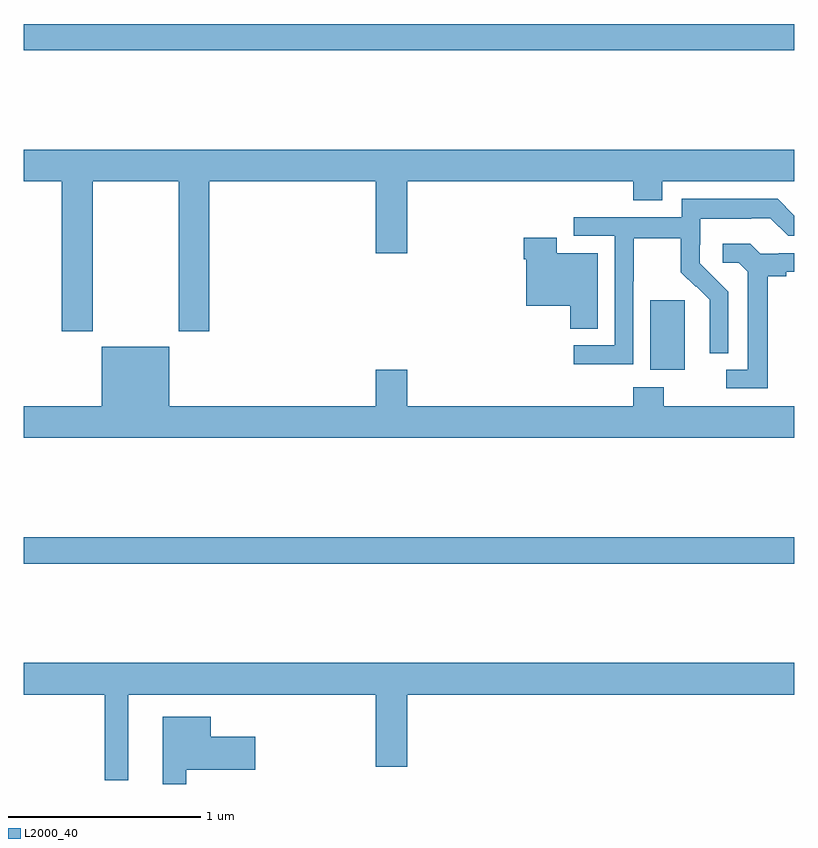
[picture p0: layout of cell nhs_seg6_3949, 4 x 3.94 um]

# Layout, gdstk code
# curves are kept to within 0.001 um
import gdstk
lib = gdstk.Library(unit=1e-6, precision=1e-09)
def R(c, l, rs):  # rectangles x0, y0, x1, y1
    for r in rs: c.add(gdstk.rectangle(r[:2], r[2:], *l))
def P(c, l, *ps):  # polygons
    for p in ps: c.add(gdstk.Polygon(p, *l))
L2000_40 = (2000, 40)

nhs_seg6_3949 = lib.new_cell('nhs_seg6_3949')
R(nhs_seg6_3949, L2000_40, [(343,986.644,347,986.78), (346.253,987.65,346.432,988.011), (343,989.308,347,989.444)])
P(nhs_seg6_3949, L2000_40, [(343.359,988.628),(343.804,988.628),(343.804,987.849),(343.964,987.849),(343.964,988.628),(344.828,988.628),(344.828,988.254),(344.992,988.254),(344.992,988.628),(346.163,988.628),(346.163,988.529),(346.315,988.529),(346.315,988.628),(347,988.628),(347,988.792),(343,988.792),(343,988.628),(343.199,988.628),(343.199,987.849),(343.359,987.849)],
  [(346.164,988.108),(346.167,988.108),(346.167,988.332),(346.411,988.332),(346.411,988.157),(346.488,988.08),(346.491,988.083),(346.562,988.013),(346.562,987.89),(346.56,987.89),(346.56,987.736),(346.656,987.736),(346.656,988.054),(346.51,988.202),(346.51,988.299),(346.512,988.299),(346.512,988.433),(346.775,988.433),(346.775,988.437),(346.875,988.437),(346.968,988.344),(347,988.344),(347,988.45),(346.913,988.537),(346.416,988.537),(346.416,988.44),(345.855,988.44),(345.855,988.344),(346.068,988.344),(346.068,987.777),(345.855,987.777),(345.855,987.679),(346.164,987.679)],
  [(345.979,988.255),(345.766,988.255),(345.766,988.336),(345.596,988.336),(345.596,988.223),(345.608,988.223),(345.608,987.983),(345.836,987.983),(345.836,987.862),(345.979,987.862)],
  [(346.861,988.136),(346.957,988.136),(346.957,988.158),(347,988.158),(347,988.254),(346.918,988.254),(346.918,988.251),(346.824,988.251),(346.772,988.303),(346.629,988.303),(346.629,988.206),(346.71,988.206),(346.757,988.159),(346.757,987.651),(346.647,987.651),(346.647,987.555),(346.861,987.555)],
  [(347,987.46),(346.323,987.46),(346.323,987.559),(346.163,987.559),(346.163,987.46),(344.992,987.46),(344.992,987.649),(344.828,987.649),(344.828,987.46),(343.756,987.46),(343.756,987.769),(343.406,987.769),(343.406,987.46),(343,987.46),(343,987.296),(347,987.296)],
  [(343.543,985.964),(344.828,985.964),(344.828,985.59),(344.992,985.59),(344.992,985.964),(347,985.964),(347,986.128),(343,986.128),(343,985.964),(343.422,985.964),(343.422,985.52),(343.543,985.52)],
  [(343.843,985.574),(344.203,985.574),(344.203,985.744),(343.972,985.744),(343.972,985.849),(343.721,985.849),(343.721,985.5),(343.843,985.5)])

lib.write_gds('nhs_seg6_3949.gds')
